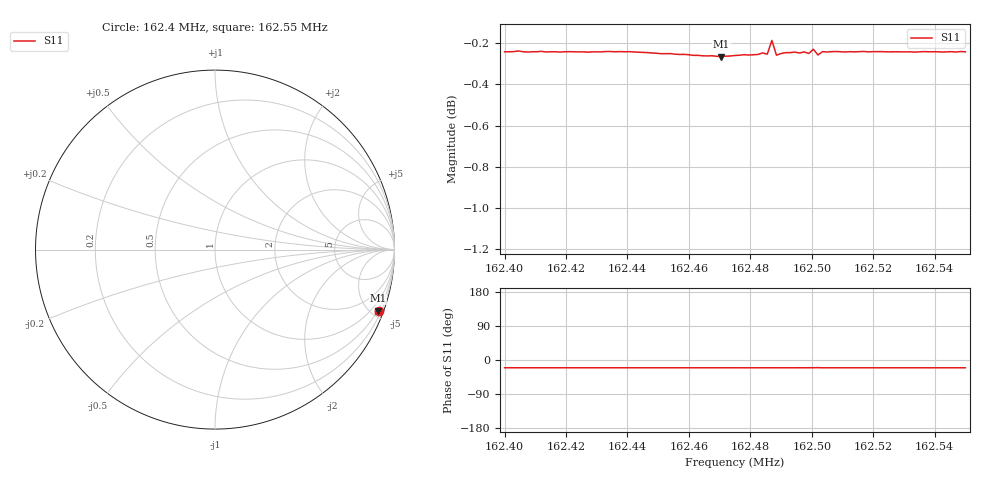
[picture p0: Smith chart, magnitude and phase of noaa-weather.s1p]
! Calibrated averaged scanner-service zoom
# Hz S RI R 50
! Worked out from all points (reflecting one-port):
!   101 points, 162.4 MHz to 162.55 MHz, reference 50 ohm
!   lowest |S11| = -0.3 dB at 162.4705 MHz (marker M1), VSWR 65.77, Z = 23.8 - j274 ohm
!   phase of S11 starts at -20 deg and turns -0 deg over the sweep
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1.624e8  0.9111 -0.3404
1.62403e8  0.9113 -0.3403
1.624045e8  0.9115 -0.3407
1.624075e8  0.9111 -0.3402
1.62412e8  0.9114 -0.3404
1.624135e8  0.911 -0.3403
1.624195e8  0.9111 -0.3405
1.624375e8  0.9111 -0.3407
1.62457e8  0.9096 -0.3403
1.624705e8  0.9085 -0.3401
1.62475e8  0.909 -0.3404
1.624825e8  0.9095 -0.3405
1.62484e8  0.9107 -0.3399
1.624855e8  0.9097 -0.3405
1.62487e8  0.9173 -0.3414
1.624885e8  0.9092 -0.3403
1.6249e8  0.9102 -0.3401
1.624915e8  0.9104 -0.3408
1.624945e8  0.9107 -0.3409
1.62496e8  0.911 -0.3387
1.624975e8  0.9108 -0.341
1.62499e8  0.9108 -0.3385
1.625005e8  0.9124 -0.3408
1.62502e8  0.9115 -0.3345
1.625035e8  0.9109 -0.3411
1.625125e8  0.9109 -0.3412
1.62532e8  0.9108 -0.3411
1.6255e8  0.9108 -0.3413
